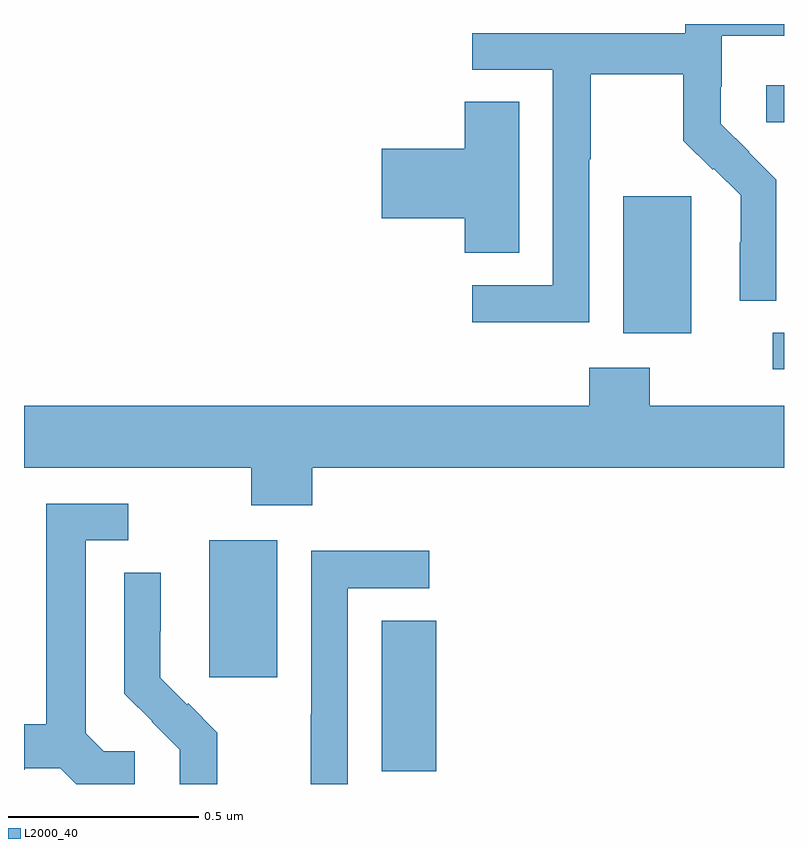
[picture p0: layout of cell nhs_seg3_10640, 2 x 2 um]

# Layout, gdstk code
import gdstk
lib = gdstk.Library(unit=1e-6, precision=1e-09)
def R(c, l, rs):  # rectangles x0, y0, x1, y1
    for r in rs: c.add(gdstk.rectangle(r[:2], r[2:], *l))
def P(c, l, *ps):  # polygons
    for p in ps: c.add(gdstk.Polygon(p, *l))
L2000_40 = (2000, 40)

nhs_seg3_10640 = lib.new_cell('nhs_seg3_10640')
R(nhs_seg3_10640, L2000_40, [(243.941,717.433,244.085,717.83), (243.488,717.681,243.667,718.042), (244.971,718.491,245,718.587), (244.577,718.586,244.756,718.947), (244.953,719.142,245,719.239)])
P(nhs_seg3_10640, L2000_40, [(244.488,719.044),(244.491,719.044),(244.491,719.268),(244.735,719.268),(244.735,719.093),(244.812,719.016),(244.815,719.019),(244.886,718.949),(244.886,718.826),(244.884,718.826),(244.884,718.672),(244.98,718.672),(244.98,718.99),(244.907,719.063),(244.908,719.064),(244.834,719.138),(244.834,719.235),(244.836,719.235),(244.836,719.369),(245,719.369),(245,719.4),(244.74,719.4),(244.74,719.376),(244.179,719.376),(244.179,719.28),(244.392,719.28),(244.392,718.713),(244.179,718.713),(244.179,718.615),(244.488,718.615)],
  [(244.303,719.195),(244.16,719.195),(244.16,719.072),(243.942,719.072),(243.942,718.889),(244.16,718.889),(244.16,718.798),(244.303,718.798)],
  [(243.758,718.232),(245,718.232),(245,718.396),(244.647,718.396),(244.647,718.495),(244.487,718.495),(244.487,718.396),(243,718.396),(243,718.232),(243.598,718.232),(243.598,718.133),(243.758,718.133)],
  [(243.292,717.486),(243.21,717.486),(243.163,717.533),(243.163,718.041),(243.274,718.041),(243.274,718.137),(243.059,718.137),(243.059,717.557),(243,717.557),(243,717.438),(243.002,717.438),(243.002,717.441),(243.096,717.441),(243.137,717.4),(243.292,717.4)],
  [(243.852,717.915),(244.066,717.915),(244.066,718.014),(243.756,718.014),(243.756,717.584),(243.754,717.584),(243.754,717.4),(243.852,717.4)],
  [(243.509,717.535),(243.432,717.612),(243.429,717.609),(243.359,717.68),(243.359,717.802),(243.36,717.802),(243.36,717.956),(243.264,717.956),(243.264,717.638),(243.337,717.565),(243.336,717.564),(243.41,717.49),(243.41,717.4),(243.509,717.4)])

lib.write_gds('nhs_seg3_10640.gds')
